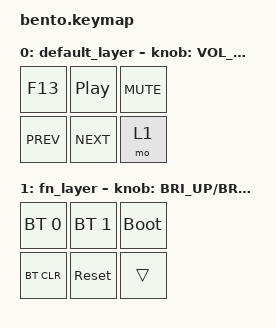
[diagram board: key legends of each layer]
#include <behaviors.dtsi>
#include <dt-bindings/zmk/keys.h>
#include <dt-bindings/zmk/bt.h>

/ {
    keymap {
        compatible = "zmk,keymap";

        default_layer { // Layer 0
            // -------------------------------------
            // |     Z     |     M     |    Mute   |
            // |     A     |     B     |    FN     |
            bindings = <
                &kp F13     &kp C_PP    &kp C_MUTE
                &kp C_PREV  &kp C_NEXT  &mo 1
            >;

            sensor-bindings = <&inc_dec_kp C_VOL_UP C_VOL_DN>;
        };

        fn_layer { // Layer 1
            bindings = <
                &bt BT_SEL 0  &bt BT_SEL 1  &bootloader
                &bt BT_CLR    &sys_reset    &trans
            >;

            sensor-bindings = <&inc_dec_kp C_BRI_UP C_BRI_DN>;
        };
    };
 };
